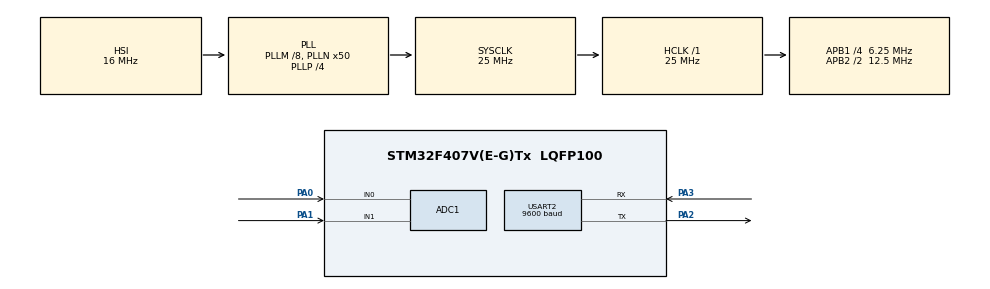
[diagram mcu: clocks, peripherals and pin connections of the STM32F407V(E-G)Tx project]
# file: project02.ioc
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ADC1.Channel-0\#ChannelRegularConversion=ADC_CHANNEL_0
ADC1.NbrOfConversionFlag=1
ADC1.Rank-0\#ChannelRegularConversion=1
ADC1.SamplingTime-0\#ChannelRegularConversion=ADC_SAMPLETIME_3CYCLES
ADC1.master=1
FREERTOS.INCLUDE_vTaskDelayUntil=1
FREERTOS.Tasks01=defaultTask,-3,128,StartDefaultTask,Default,NULL,Dynamic,NULL,NULL
FREERTOS.configUSE_NEWLIB_REENTRANT=1
Mcu.Family=STM32F4
Mcu.Name=STM32F407V(E-G)Tx
Mcu.Package=LQFP100
NVIC.PriorityGroup=NVIC_PRIORITYGROUP_4
NVIC.TIM1_UP_TIM10_IRQn=true\:15\:0\:false\:false\:true\:false\:false\:true\:true
NVIC.TimeBase=TIM1_UP_TIM10_IRQn
NVIC.TimeBaseIP=TIM1
PA0-WKUP.Signal=ADCx_IN0
PA1.Signal=ADCx_IN1
PA2.Mode=Asynchronous
PA2.Signal=USART2_TX
PA3.Mode=Asynchronous
PA3.Signal=USART2_RX
ProjectManager.HeapSize=0x200
ProjectManager.StackSize=0x400
ProjectManager.TargetToolchain=STM32CubeIDE
RCC.48MHZClocksFreq_Value=14285714.285714285
RCC.AHBFreq_Value=25000000
RCC.APB1CLKDivider=RCC_HCLK_DIV4
RCC.APB1Freq_Value=6250000
RCC.APB1TimFreq_Value=12500000
RCC.APB2CLKDivider=RCC_HCLK_DIV2
RCC.APB2Freq_Value=12500000
RCC.APB2TimFreq_Value=25000000
RCC.CortexFreq_Value=25000000
RCC.HCLKFreq_Value=25000000
RCC.HSE_VALUE=8000000
RCC.HSI_VALUE=16000000
RCC.LSE_VALUE=32768
RCC.PLLM=8
RCC.PLLN=50
RCC.PLLP=RCC_PLLP_DIV4
RCC.PLLQ=7
RCC.SYSCLKFreq_VALUE=25000000
RCC.SYSCLKSource=RCC_SYSCLKSOURCE_PLLCLK
RCC.VCOOutputFreq_Value=100000000
SH.ADCx_IN0.0=ADC1_IN0,IN0
SH.ADCx_IN1.0=ADC1_IN1,IN1
USART2.BaudRate=9600
USART2.VirtualMode=VM_ASYNC
VP_FREERTOS_VS_CMSIS_V1.Mode=CMSIS_V1
VP_SYS_VS_tim1.Mode=TIM1
board=STM32F407G-DISC1

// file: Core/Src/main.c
/* USER CODE BEGIN Header */
/**
  ******************************************************************************
  * @file           : main.c
  * @brief          : Main program body
  ******************************************************************************
  * @attention
  *
  * Copyright (c) 2024 STMicroelectronics.
  * All rights reserved.
  *
  * This software is licensed under terms that can be found in the LICENSE file
  * in the root directory of this software component.
  * If no LICENSE file comes with this software, it is provided AS-IS.
  *
  ******************************************************************************
  */
/* USER CODE END Header */
#include "main.h"
#include "cmsis_os.h"
#include<stdio.h>
#include<string.h>
/* USER CODE BEGIN Includes */
ADC_HandleTypeDef hadc1;
UART_HandleTypeDef huart2;
/* USER CODE END Includes */

/* USER CODE BEGIN PTD */
void adc_periodic_task(void*pvParam)
{
	  uint32_t adcResult_1 = 0;
	  uint32_t adcResult_2 = 0;
	  char str1[64];
	  char str2[64];
	portTickType xLastWakeupTime = xTaskGetTickCount();
	while(1){
		  /* Configure ADC to read from channel 0 */
		    ADC_ChannelConfTypeDef sConfig = {0};
		    sConfig.Channel = ADC_CHANNEL_0;
		    sConfig.Rank = 1;
		    sConfig.SamplingTime = ADC_SAMPLETIME_3CYCLES;
		    if (HAL_ADC_ConfigChannel(&hadc1, &sConfig) != HAL_OK)
		    {
		      Error_Handler();
		    }

		    /* Start ADC Conversion */
		    HAL_ADC_Start(&hadc1);
		    /* Poll ADC1 Peripheral & TimeOut = 1mSec */
		    HAL_ADC_PollForConversion(&hadc1, 1);
		    /* Check if the continuous conversion of regular channel is finished */
		    if ((HAL_ADC_GetState(&hadc1) & HAL_ADC_STATE_REG_EOC) == HAL_ADC_STATE_REG_EOC)
		    {
		      /* Read the ADC converted values */
		      adcResult_1 = HAL_ADC_GetValue(&hadc1);
		      /* Prepare data to send over UART */
		      snprintf(str1, sizeof(str1), "ADC Value 1: %lu\r\n", adcResult_1);
		      /* Send ADC values over UART */
		      HAL_UART_Transmit(&huart2, (uint8_t*)str1, strlen(str1), HAL_MAX_DELAY);
		    }

		    /* Configure ADC to read from channel 1 */
		    sConfig.Channel = ADC_CHANNEL_1;
		    if (HAL_ADC_ConfigChannel(&hadc1, &sConfig) != HAL_OK)
		    {
		      Error_Handler();
		    }

		    /* Start ADC Conversion */
		    HAL_ADC_Start(&hadc1);
		    /* Poll ADC1 Peripheral & TimeOut = 1mSec */
		    HAL_ADC_PollForConversion(&hadc1, 1);
		    /* Check if the continuous conversion of regular channel is finished */
		    if ((HAL_ADC_GetState(&hadc1) & HAL_ADC_STATE_REG_EOC) == HAL_ADC_STATE_REG_EOC)
		    {
		      /* Read the ADC converted values */
		      adcResult_2 = HAL_ADC_GetValue(&hadc1);
		      /* Prepare data to send over UART */
		      snprintf(str2, sizeof(str2), "ADC Value 2: %lu\r\n", adcResult_2);
		      /* Send ADC values over UART */
		      HAL_UART_Transmit(&huart2, (uint8_t*)str2, strlen(str2), HAL_MAX_DELAY);
		    }

		    /* Delay to prevent spamming the UART too quickly */
		    HAL_Delay(500);
		    /* USER CODE END WHILE */

		    /* USER CODE BEGIN 3 */

		vTaskDelayUntil(&xLastWakeupTime, 500 / portTICK_RATE_MS);
	}
	vTaskDelete(NULL);
}
/* USER CODE END PTD */

ADC_HandleTypeDef hadc1;

UART_HandleTypeDef huart2;

osThreadId defaultTaskHandle;

void SystemClock_Config(void);
static void MX_GPIO_Init(void);
static void MX_ADC1_Init(void);
static void MX_USART2_UART_Init(void);
void StartDefaultTask(void const * argument);

int main(void)
{

  /* USER CODE BEGIN 1 */
	BaseType_t xRet;

  /* USER CODE END 1 */

  /* MCU Configuration--------------------------------------------------------*/

  /* Reset of all peripherals, Initializes the Flash interface and the Systick. */
  HAL_Init();

  /* Configure the system clock */
  SystemClock_Config();

  /* Initialize all configured peripherals */
  MX_GPIO_Init();
  MX_ADC1_Init();
  MX_USART2_UART_Init();

  /* Create the thread(s) */
  /* definition and creation of defaultTask */
  osThreadDef(defaultTask, StartDefaultTask, osPriorityIdle, 0, 128);
  defaultTaskHandle = osThreadCreate(osThread(defaultTask), NULL);

  /* USER CODE BEGIN RTOS_THREADS */
  /* add threads, ... */
  xRet = xTaskCreate(adc_periodic_task, "adc_task", 128, NULL, 1, NULL);
  if(xRet != pdTRUE)
  	  Error_Handler();
  /* USER CODE END RTOS_THREADS */

  /* Start scheduler */
  osKernelStart();

  /* We should never get here as control is now taken by the scheduler */

  /* Infinite loop */
  while (1)
  {

  }
}

void SystemClock_Config(void)
{
  RCC_OscInitTypeDef RCC_OscInitStruct = {0};
  RCC_ClkInitTypeDef RCC_ClkInitStruct = {0};

  /** Configure the main internal regulator output voltage
  */
  __HAL_RCC_PWR_CLK_ENABLE();
  __HAL_PWR_VOLTAGESCALING_CONFIG(PWR_REGULATOR_VOLTAGE_SCALE1);

  /** Initializes the RCC Oscillators according to the specified parameters
  * in the RCC_OscInitTypeDef structure.
  */
  RCC_OscInitStruct.OscillatorType = RCC_OSCILLATORTYPE_HSI;
  RCC_OscInitStruct.HSIState = RCC_HSI_ON;
  RCC_OscInitStruct.HSICalibrationValue = RCC_HSICALIBRATION_DEFAULT;
  RCC_OscInitStruct.PLL.PLLState = RCC_PLL_ON;
  RCC_OscInitStruct.PLL.PLLSource = RCC_PLLSOURCE_HSI;
  RCC_OscInitStruct.PLL.PLLM = 8;
  RCC_OscInitStruct.PLL.PLLN = 50;
  RCC_OscInitStruct.PLL.PLLP = RCC_PLLP_DIV4;
  RCC_OscInitStruct.PLL.PLLQ = 7;
  if (HAL_RCC_OscConfig(&RCC_OscInitStruct) != HAL_OK)
  {
    Error_Handler();
  }

  /** Initializes the CPU, AHB and APB buses clocks
  */
  RCC_ClkInitStruct.ClockType = RCC_CLOCKTYPE_HCLK|RCC_CLOCKTYPE_SYSCLK
                              |RCC_CLOCKTYPE_PCLK1|RCC_CLOCKTYPE_PCLK2;
  RCC_ClkInitStruct.SYSCLKSource = RCC_SYSCLKSOURCE_PLLCLK;
  RCC_ClkInitStruct.AHBCLKDivider = RCC_SYSCLK_DIV1;
  RCC_ClkInitStruct.APB1CLKDivider = RCC_HCLK_DIV4;
  RCC_ClkInitStruct.APB2CLKDivider = RCC_HCLK_DIV2;

  if (HAL_RCC_ClockConfig(&RCC_ClkInitStruct, FLASH_LATENCY_0) != HAL_OK)
  {
    Error_Handler();
  }
}

static void MX_ADC1_Init(void)
{

  ADC_ChannelConfTypeDef sConfig = {0};

  /** Configure the global features of the ADC (Clock, Resolution, Data Alignment and number of conversion)
  */
  hadc1.Instance = ADC1;
  hadc1.Init.ClockPrescaler = ADC_CLOCK_SYNC_PCLK_DIV2;
  hadc1.Init.Resolution = ADC_RESOLUTION_12B;
  hadc1.Init.ScanConvMode = DISABLE;
  hadc1.Init.ContinuousConvMode = DISABLE;
  hadc1.Init.DiscontinuousConvMode = DISABLE;
  hadc1.Init.ExternalTrigConvEdge = ADC_EXTERNALTRIGCONVEDGE_NONE;
  hadc1.Init.ExternalTrigConv = ADC_SOFTWARE_START;
  hadc1.Init.DataAlign = ADC_DATAALIGN_RIGHT;
  hadc1.Init.NbrOfConversion = 1;
  hadc1.Init.DMAContinuousRequests = DISABLE;
  hadc1.Init.EOCSelection = ADC_EOC_SINGLE_CONV;
  if (HAL_ADC_Init(&hadc1) != HAL_OK)
  {
    Error_Handler();
  }

  /** Configure for the selected ADC regular channel its corresponding rank in the sequencer and its sample time.
  */
  sConfig.Channel = ADC_CHANNEL_0;
  sConfig.Rank = 1;
  sConfig.SamplingTime = ADC_SAMPLETIME_3CYCLES;
  if (HAL_ADC_ConfigChannel(&hadc1, &sConfig) != HAL_OK)
  {
    Error_Handler();
  }

}

static void MX_USART2_UART_Init(void)
{

  huart2.Instance = USART2;
  huart2.Init.BaudRate = 9600;
  huart2.Init.WordLength = UART_WORDLENGTH_8B;
  huart2.Init.StopBits = UART_STOPBITS_1;
  huart2.Init.Parity = UART_PARITY_NONE;
  huart2.Init.Mode = UART_MODE_TX_RX;
  huart2.Init.HwFlowCtl = UART_HWCONTROL_NONE;
  huart2.Init.OverSampling = UART_OVERSAMPLING_16;
  if (HAL_UART_Init(&huart2) != HAL_OK)
  {
    Error_Handler();
  }

}

static void MX_GPIO_Init(void)
{

  /* GPIO Ports Clock Enable */
  __HAL_RCC_GPIOA_CLK_ENABLE();

}

void StartDefaultTask(void const * argument)
{
  for(;;)
  {
    osDelay(1);
  }
}

void HAL_TIM_PeriodElapsedCallback(TIM_HandleTypeDef *htim)
{
  if (htim->Instance == TIM1) {
    HAL_IncTick();
  }
}

void Error_Handler(void)
{
  __disable_irq();
  while (1)
  {
  }
}
